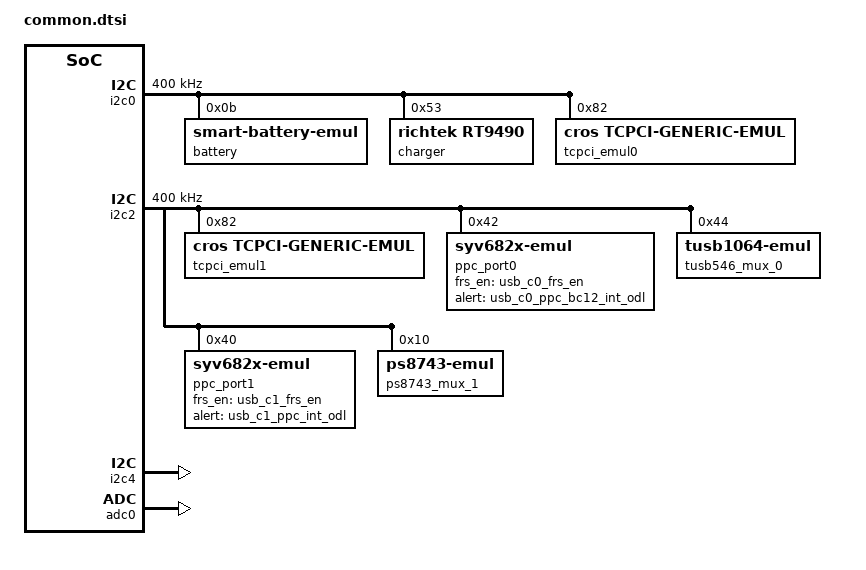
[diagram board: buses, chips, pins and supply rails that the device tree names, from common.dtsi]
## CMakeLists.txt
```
# Copyright 2023 The ChromiumOS Authors
# Use of this source code is governed by a BSD-style license that can be
# found in the LICENSE file.

cmake_minimum_required(VERSION 3.13.1)
find_package(Zephyr REQUIRED HINTS "${ZEPHYR_BASE}")
project(geralt)

add_subdirectory(${PLATFORM_EC}/zephyr/test/test_utils test_utils)

zephyr_include_directories(
	"${PLATFORM_EC_PROGRAM_DIR}/geralt/include"
	include)

target_sources(app PRIVATE
	${PLATFORM_EC_PROGRAM_DIR}/geralt/src/base_detect.c
	${PLATFORM_EC_PROGRAM_DIR}/geralt/src/usbc_config.c
	${PLATFORM_EC_PROGRAM_DIR}/geralt/src/usb_pd_policy.c)

target_sources_ifdef(CONFIG_TEST_GERALT
	app PRIVATE
	src/base_detect.c
	src/common.c
	src/fakes.c
	src/main.c
	src/usbc_config.c)

target_sources_ifdef(CONFIG_TEST_CIRI
	app PRIVATE
	src/fakes.c
	src/board_ciri.c
	src/ciri_usbc.c
	${PLATFORM_EC_PROGRAM_DIR}/geralt/ciri/src/board_config.c)
```

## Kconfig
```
# Copyright 2023 The ChromiumOS Authors
# Use of this source code is governed by a BSD-style license that can be
# found in the LICENSE file.

config MUX_INIT_ADC
	bool "Run the tests intended for usb_nux_init adc"
	help
	  Include stubs.c with const struct adc_t adc_channels[] function
	  into the binary to test.

choice
	prompt "select the test suite"

config TEST_GERALT
	bool "Run the tests intended for geralt"
	help
	  Run the tests for geralt common code.
endchoice

source "Kconfig.zephyr"
```

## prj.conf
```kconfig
# Copyright 2023 The ChromiumOS Authors
# Use of this source code is governed by a BSD-style license that can be
# found in the LICENSE file.

CONFIG_ZTEST=y
CONFIG_ZTEST_ASSERT_VERBOSE=1
CONFIG_ZTEST_NEW_API=y

CONFIG_ASSERT=y
CONFIG_ADC=y
CONFIG_CROS_EC=y
CONFIG_EMUL=y

CONFIG_SHIMMED_TASKS=n

CONFIG_PLATFORM_EC=y
CONFIG_PLATFORM_EC_BACKLIGHT_LID=n
CONFIG_PLATFORM_EC_BATTERY_FUEL_GAUGE=y
CONFIG_PLATFORM_EC_CHARGER=y
CONFIG_PLATFORM_EC_CHARGER_SENSE_RESISTOR=10
CONFIG_PLATFORM_EC_CHARGER_SENSE_RESISTOR_AC=20
CONFIG_PLATFORM_EC_CHARGE_MANAGER=y
CONFIG_PLATFORM_EC_CHARGE_RAMP_HW=y
CONFIG_PLATFORM_EC_GPIO_INIT_PRIORITY=49
CONFIG_PLATFORM_EC_HOOKS=y
CONFIG_PLATFORM_EC_HOSTCMD=y
CONFIG_PLATFORM_EC_LID_SWITCH=y
CONFIG_PLATFORM_EC_POWERSEQ_HOST_SLEEP=y
CONFIG_PLATFORM_EC_POWER_BUTTON=y
CONFIG_PLATFORM_EC_POWER_SLEEP_FAILURE_DETECTION=y
CONFIG_PLATFORM_EC_SWITCH=n
CONFIG_PLATFORM_EC_USBC=y
CONFIG_PLATFORM_EC_USB_CHARGER=n
CONFIG_PLATFORM_EC_USB_DRP_ACC_TRYSRC=y
CONFIG_PLATFORM_EC_USB_MUX_TUSB546=y
CONFIG_PLATFORM_EC_USB_PD_DISCHARGE=y
CONFIG_PLATFORM_EC_USB_PD_DISCHARGE_PPC=y
CONFIG_PLATFORM_EC_USB_PD_VBUS_MEASURE_ADC_EACH_PORT=y
CONFIG_PLATFORM_EC_USB_POWER_DELIVERY=y
CONFIG_PLATFORM_EC_VBOOT_HASH=n

CONFIG_PLATFORM_EC_USBC_PPC=y

CONFIG_NATIVE_UART_0_ON_STDINOUT=y
```

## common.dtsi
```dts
/* Copyright 2023 The ChromiumOS Authors
 * Use of this source code is governed by a BSD-style license that can be
 * found in the LICENSE file.
 */

#include <it8xxx2_emul.dts>

/ {
	pinctrl: pinctrl {
		compatible = "ite,it8xxx2-pinctrl";
		status = "disabled";
	};

	named-gpios {
		usb_c0_frs_en: usb-c0-frs-en {
			gpios = <&gpioa 3 GPIO_OUTPUT_LOW>;
		};
	};

	named-i2c-ports {
		compatible = "named-i2c-ports";

		battery {
			i2c-port = <&i2c0>;
			remote-port = <1>;
			enum-names = "I2C_PORT_BATTERY",
				"I2C_PORT_VIRTUAL_BATTERY";
		};
		i2c_charger: charger {
			i2c-port = <&i2c0>;
			enum-names = "I2C_PORT_CHARGER",
				"I2C_PORT_EEPROM";
		};
		i2c_sensor: sensor {
			i2c-port = <&i2c2>;
			enum-names = "I2C_PORT_SENSOR";
		};
		i2c_usb_c: usb-c {
			i2c-port = <&i2c2>;
			enum-names = "I2C_PORT_USB_C";
		};
		i2c_detachable_base: detachable-base {
			i2c-port = <&i2c4>;
			enum-names = "I2C_PORT_DETACHABLE_BASE";
		};
	};

	usbc {
		#address-cells = <1>;
		#size-cells = <0>;

		port0@0 {
			compatible = "named-usbc-port";
			status = "okay";
			reg = <0>;
			chg = <&charger>;
			tcpc = <&tcpci_emul0>;
			ppc = <&ppc_port0>;
			usb-mux-chain-0 {
				compatible = "cros-ec,usb-mux-chain";
				usb-muxes = <&tusb546_mux_0 &virtual_mux_0>;
			};
		};
		port0-muxes {
			virtual_mux_0: virtual-mux-0 {
				compatible = "cros-ec,usbc-mux-virtual";
			};
		};

		port1@1 {
			compatible = "named-usbc-port";
			status = "okay";
			reg = <1>;
			tcpc = <&tcpci_emul1>;
			ppc = <&ppc_port1>;
			usb-mux-chain-1 {
				compatible = "cros-ec,usb-mux-chain";
				usb-muxes = <&ps8743_mux_1 &virtual_mux_1>;
			};
		};
		port1-muxes {
			virtual_mux_1: virtual-mux-1 {
				compatible = "cros-ec,usbc-mux-virtual";
			};
		};
	};

	batteries {
		default_battery: lgc_ac17a8m {
			compatible = "lgc,ac17a8m", "battery-smart";
			/**
			 * this has to be strictly lower than the desired
			 * voltage in smart battery emulator (5000mV).
			 */
			voltage_min = <4000>;
		};
	};

	named-adc-channels {
		compatible = "named-adc-channels";

		adc_vbus_c0: adc-vbus-c0 {
			enum-name = "ADC_VBUS_C0";
			io-channels = <&adc0 0>;
			mul = <10>;
		};
		adc_board_id0 {
			enum-name = "ADC_BOARD_ID_0";
			io-channels = <&adc0 1>;
		};
		adc_board_id1 {
			enum-name = "ADC_BOARD_ID_1";
			io-channels = <&adc0 2>;
		};
		adc_base_det: adc-base-det {
			enum-name = "ADC_BASE_DET";
			io-channels = <&adc0 5>;
		};
		adc_vbus_c1 {
			enum-name = "ADC_VBUS_C1";
			io-channels = <&adc0 7>;
			mul = <10>;
		};
		adc_charger: charger {
			enum-name = "ADC_TEMP_SENSOR_CHARGER";
			io-channels = <&adc0 6>;
		};
	};
};

&i2c0 {
	/* I2C_BATTERY */
	battery: sb@b {
		compatible = "zephyr,smart-battery-emul";
		reg = <0xb>;
		cycle-count = <99>;
		version = "BATTERY_SPEC_VER_1_1_WITH_PEC";
		/* Real battery voltages are multiples of 4.4V. */
		desired-charg-volt = <5000>;
		desired-charg-cur = <1000>;
		mf-name = "LGC";
		dev-name = "AC17A8M";
	};

	/* I2C_PWR_CBI */
	status = "okay";
	clock-frequency = <I2C_BITRATE_FAST>;

	charger: rt9490@53 {
		compatible = "richtek,rt9490", "zephyr,rt9490-emul";
		status = "okay";
		reg = <0x53>;
	};

	tcpci_emul0: tcpci_emul@82 {
		compatible = "cros,tcpci-generic-emul";
		status = "okay";
		reg = <0x82>;
	};
};

&i2c2 {
	/* I2C_USB_C */
	status = "okay";
	clock-frequency = <I2C_BITRATE_FAST>;
	/delete-property/ fifo-enable;

	tcpci_emul1: tcpci_emul@82 {
		compatible = "cros,tcpci-generic-emul";
		status = "okay";
		reg = <0x82>;
	};

	ppc_port0: rt1739@70 {
		compatible = "zephyr,syv682x-emul";
		status = "okay";
		reg = <0x42>;
		frs_en_gpio = <&usb_c0_frs_en>;
		alert_gpio = <&usb_c0_ppc_bc12_int_odl>;
	};

	tusb546_mux_0: tusb546-mux-0@44 {
		compatible = "zephyr,tusb1064-emul";
		reg = <0x44>;
	};

	ppc_port1: syv682x@40 {
		compatible = "zephyr,syv682x-emul";
		status = "okay";
		reg = <0x40>;
		frs_en_gpio = <&usb_c1_frs_en>;
		alert_gpio = <&usb_c1_ppc_int_odl>;
	};

	ps8743_mux_1: ps8743-mux-1@10 {
		compatible = "zephyr,ps8743-emul";
		reg = <0x10>;
		// board-init = "ps8743_eq_c1_setting";
	};
};

/* TODO(b/260377762): peripheral mode */
&i2c4 {
	/* I2C_DETACHABLE_BASE */
	status = "okay";
};

&adc0 {
	status = "okay";
};
```

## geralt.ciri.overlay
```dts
/* Copyright 2024 The ChromiumOS Authors
 * Use of this source code is governed by a BSD-style license that can be
 * found in the LICENSE file.
 */

#include "common.dtsi"
#include "../program/geralt/gpio.dtsi"
#include "../program/geralt/interrupts.dtsi"
#include "../program/geralt/power_signal.dtsi"

/* remove pinctrl to avoid pull in too many unwanted dependency */
/delete-node/ &pinctrl;

/delete-node/ &int_volume_up;
/delete-node/ &int_volume_down;
/delete-node/ &int_spi0_cs;
/delete-node/ &int_ccd_mode_odl;
/delete-node/ &int_lid_360;

/* no need to maintain the unused-pins list in test code */
/delete-node/ &{/unused-pins};

/ {
	aliases {
		bmi3xx-int = &lid_accel;
		lsm6dsm-int = &lid_accel;
	};

	gpio-interrupts {
        int_lid_imu: lid-imu {
			irq-pin = <&lid_imu_int_l>;
			flags = <GPIO_INT_EDGE_FALLING>;
			handler = "motion_interrupt";
		};
	};

	motionsense-sensor-data {
		lsm6dsm_data_accel: lsm6dsm-accel-drv-data {
			compatible = "cros-ec,drvdata-lsm6dsm";
			status = "okay";
		};
		lsm6dsm_data_gyro: lsm6dsm-gyro-drv-data {
			compatible = "cros-ec,drvdata-lsm6dsm";
			status = "okay";
		};
		bmi323_data: bmi3xx-drv-data {
			compatible = "cros-ec,drvdata-bmi3xx";
			status = "okay";
		};
	};

	motionsense-sensor {
		lid_accel: lid-accel {
			compatible = "cros-ec,bmi3xx-accel";
			status = "okay";

			active-mask = "SENSOR_ACTIVE_S0";
			location = "MOTIONSENSE_LOC_LID";
			drv-data = <&bmi323_data>;
			port = <&i2c_sensor>;
		};

		lid_gyro: lid-gyro {
			compatible = "cros-ec,bmi3xx-gyro";
			status = "okay";

			active-mask = "SENSOR_ACTIVE_S0";
			location = "MOTIONSENSE_LOC_LID";
			drv-data = <&bmi323_data>;
			port = <&i2c_sensor>;
		};
	};

	motionsense-sensor-alt {
		alt_lid_accel: alt-lid-accel {
			compatible = "cros-ec,lsm6dsm-accel";
			status = "okay";

			active-mask = "SENSOR_ACTIVE_S0";
			location = "MOTIONSENSE_LOC_LID";
			drv-data = <&lsm6dsm_data_accel>;
			port = <&i2c_sensor>;
			alternate-for = <&lid_accel>;
		};

		alt_lid_gyro: alt-lid-gyro {
			compatible = "cros-ec,lsm6dsm-gyro";
			status = "okay";

			active-mask = "SENSOR_ACTIVE_S0";
			location = "MOTIONSENSE_LOC_LID";
			drv-data = <&lsm6dsm_data_gyro>;
			port = <&i2c_sensor>;
			alternate-for = <&lid_gyro>;
		};
	};

	motionsense-sensor-info {
		compatible = "cros-ec,motionsense-sensor-info";

		sensor-irqs = <&int_lid_imu>;
	};

	ciri-ssfc {
		compatible = "cros-ec,cbi-ssfc";

		/* SSFC field to identify LID motion sensor. */
		lid-sensor {
			enum-name = "LID_SENSOR";
			size = <3>;

			lid_sensor_0: bmi323 {
				compatible = "cros-ec,cbi-ssfc-value";
				status = "okay";
				value = <1>;
			};
			lid_sensor_1: lsm6dsm {
				compatible = "cros-ec,cbi-ssfc-value";
				status = "okay";
				value = <2>;
				default;
			};
		};
	};
};
```

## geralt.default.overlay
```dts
/* Copyright 2023 The ChromiumOS Authors
 * Use of this source code is governed by a BSD-style license that can be
 * found in the LICENSE file.
 */

#include "common.dtsi"
#include "charger.dtsi"
#include "../program/geralt/gpio.dtsi"
#include "../program/geralt/interrupts.dtsi"
#include "../program/geralt/power_signal.dtsi"

/* remove pinctrl to avoid pull in too many unwanted dependency */
/delete-node/ &pinctrl;

/delete-node/ &int_volume_up;
/delete-node/ &int_volume_down;
/delete-node/ &int_wp;
/delete-node/ &int_ccd_mode_odl;
/delete-node/ &int_lid_360;
/delete-node/ &int_lid_imu;

&{/aliases} {
	/delete-property/ int-wp;
};

/* open-drain is not supported in gpio emul, re-config to push-pull  */
&ec_pmic_en_odl {
	gpios = <&gpiod 0 (GPIO_OUTPUT_HIGH | GPIO_INPUT | GPIO_VOLTAGE_1P8)>;
};
&sys_rst_odl {
	gpios = <&gpiog 1 GPIO_OUTPUT_LOW>;
};

/* set default gpio-emul state */
&power_button_l {
	gpios = <&gpioe 4 (GPIO_INPUT | GPIO_PULL_UP)>;
};
```

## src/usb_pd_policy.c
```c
/* Copyright 2023 The ChromiumOS Authors
 * Use of this source code is governed by a BSD-style license that can be
 * found in the LICENSE file.
 */

#include "adc.h"
#include "battery.h"
#include "charge_manager.h"
#include "driver/ppc/syv682x.h"
#include "driver/ppc/syv682x_public.h"
#include "emul/emul_common_i2c.h"
#include "emul/emul_syv682x.h"
#include "i2c/i2c.h"
#include "test_state.h"
#include "usb_pd.h"
#include "usbc_ppc.h"

#include <zephyr/devicetree.h>
#include <zephyr/drivers/emul.h>
#include <zephyr/fff.h>
#include <zephyr/ztest.h>

FAKE_VALUE_FUNC(enum battery_present, battery_is_present);

ZTEST(usb_pd_policy, test_port_frs_disable_until_source_on)
{
	for (int i = 0; i < CONFIG_USB_PD_PORT_MAX_COUNT; i++) {
		/* all ports delay the FRS disabled pins */
		zassert_true(port_frs_disable_until_source_on(i));
	}
}

static void geralt_usb_pd_policy_before(void *fixture)
{
}

ZTEST_SUITE(usb_pd_policy, geralt_predicate_post_main, NULL,
	    geralt_usb_pd_policy_before, NULL, NULL);
```

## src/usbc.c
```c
/* Copyright 2025 The ChromiumOS Authors
 * Use of this source code is governed by a BSD-style license that can be
 * found in the LICENSE file.
 */

#include "test_state.h"
#include "usb_pd.h"
#include "usb_tc_sm.h"

#include <zephyr/fff.h>
#include <zephyr/ztest.h>

#include "usb_pd_dpm_sm.hh"

FAKE_VALUE_FUNC(bool, tc_is_attached_src, int);

/*
 * Store a bitmask of active source ports.
 * Bit 0 for port 0, bit 1 for port 1.
 */
static int active_src_mask;

static bool tc_is_attached_src_custom_fake(int port)
{
	return (active_src_mask & BIT(port));
}

static void usbc_before(void *fixture)
{
	RESET_FAKE(tc_is_attached_src);
	tc_is_attached_src_fake.custom_fake = tc_is_attached_src_custom_fake;
	active_src_mask = 0;
}

ZTEST_SUITE(usbc, geralt_predicate_post_main, NULL, usbc_before, NULL, NULL);

ZTEST(usbc, test_dpm_get_source_info_msg)
{
	union sido sido;

	/*
	 * Scenario 1: Port 0 is the only active source.
	 * Should provide 3A (15W).
	 */
	active_src_mask = BIT(0);
	sido = dpm_get_source_info_msg(0);

	zassert_equal(sido.sido1.port_type, PD_SOURCE_PORT_CAPABILITY_MANAGED,
		      "port_type mismatch");
	zassert_equal(sido.sido2.port_type, PD_SOURCE_PORT_CAPABILITY_MANAGED,
		      "port_type mismatch");
	zassert_equal(sido.sido1.reserved, 0, "reserved not 0");
	zassert_equal(sido.sido2.reserved, 0, "reserved not 0");
	zassert_equal(sido.sido2.dps_port, 0, "dps_port not 0");
	zassert_equal(sido.sido2.port_maximum_pdp, PD_SIDO2_15W,
		      "max_pdp mismatch");
	zassert_equal(sido.sido1.port_maximum_pdp, 15, "max_pdp mismatch");
	zassert_equal(sido.sido2.port_guaranteed_pdp, PD_SIDO2_7_5W,
		      "guaranteed_pdp mismatch");
	zassert_equal(sido.sido1.port_reported_pdp, 15,
		      "reported_pdp mismatch for 3A case");
	zassert_equal(sido.sido1.port_present_pdp, 15,
		      "present_pdp mismatch for 3A case");

	/*
	 * Scenario 2: Port 1 is the only active source.
	 * Should provide 3A (15W).
	 */
	active_src_mask = BIT(1);
	sido = dpm_get_source_info_msg(1);

	zassert_equal(sido.sido1.port_reported_pdp, 15,
		      "reported_pdp mismatch for 3A case");
	zassert_equal(sido.sido1.port_present_pdp, 15,
		      "present_pdp mismatch for 3A case");

	/*
	 * Scenario 3: Both ports are active sources.
	 * Port 0 should provide 1.5A (7.5W, truncated to 7W).
	 */
	active_src_mask = BIT(0) | BIT(1);
	sido = dpm_get_source_info_msg(0);

	zassert_equal(sido.sido1.port_reported_pdp, 7,
		      "reported_pdp mismatch for 1.5A case");
	zassert_equal(sido.sido1.port_present_pdp, 7,
		      "present_pdp mismatch for 1.5A case");

	/*
	 * Scenario 4: Both ports are active sources.
	 * Port 1 should provide 1.5A (7.5W, truncated to 7W).
	 */
	sido = dpm_get_source_info_msg(1);

	zassert_equal(sido.sido1.port_reported_pdp, 7,
		      "reported_pdp mismatch for 1.5A case");
	zassert_equal(sido.sido1.port_present_pdp, 7,
		      "present_pdp mismatch for 1.5A case");

	/*
	 * Scenario 5: No ports are active.
	 * Should provide 1.5A (7.5W, truncated to 7W).
	 */
	active_src_mask = 0;
	sido = dpm_get_source_info_msg(0);

	zassert_equal(sido.sido1.port_reported_pdp, 7,
		      "reported_pdp mismatch for 1.5A case");
	zassert_equal(sido.sido1.port_present_pdp, 7,
		      "present_pdp mismatch for 1.5A case");
}
```

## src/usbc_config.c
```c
/* Copyright 2023 The ChromiumOS Authors
 * Use of this source code is governed by a BSD-style license that can be
 * found in the LICENSE file.
 */

#include "adc.h"
#include "battery.h"
#include "charge_manager.h"
#include "driver/ppc/syv682x.h"
#include "driver/ppc/syv682x_public.h"
#include "emul/emul_common_i2c.h"
#include "emul/emul_syv682x.h"
#include "fakes.h"
#include "i2c/i2c.h"
#include "test_state.h"
#include "usb_pd.h"
#include "usbc_ppc.h"

#include <zephyr/devicetree.h>
#include <zephyr/devicetree/io-channels.h>
#include <zephyr/drivers/adc/adc_emul.h>
#include <zephyr/drivers/emul.h>
#include <zephyr/fff.h>
#include <zephyr/ztest.h>

static bool ppc_sink_enabled(int port)
{
	const struct emul *emul = (port == 0) ?
					  EMUL_DT_GET(DT_NODELABEL(ppc_port0)) :
					  EMUL_DT_GET(DT_NODELABEL(ppc_port1));
	uint8_t val = 0;

	syv682x_emul_get_reg(emul, SYV682X_CONTROL_1_REG, &val);

	return !(val & (SYV682X_CONTROL_1_PWR_ENB | SYV682X_CONTROL_1_HV_DR));
}

ZTEST(usbc_config, test_set_active_charge_port)
{
	/* reset ppc state */
	zassert_ok(board_set_active_charge_port(CHARGE_PORT_NONE), NULL);
	zassert_false(ppc_sink_enabled(0), NULL);
	zassert_false(ppc_sink_enabled(1), NULL);

	/* sourcing port 0, expect port 0 not sinkable */
	zassert_ok(pd_set_power_supply_ready(0));
	zassert_not_equal(board_set_active_charge_port(0), 0, NULL);
	zassert_true(board_vbus_source_enabled(0), NULL);
	zassert_false(board_vbus_source_enabled(1), NULL);
	zassert_false(ppc_sink_enabled(0), NULL);
	zassert_false(ppc_sink_enabled(1), NULL);

	/* sinking port 1 */
	zassert_ok(board_set_active_charge_port(1), NULL);
	zassert_false(ppc_sink_enabled(0), NULL);
	zassert_true(ppc_sink_enabled(1), NULL);

	/*
	 * sinking an invalid port should return error and doesn't change
	 * any state
	 */
	zassert_not_equal(board_set_active_charge_port(2), 0, NULL);
	zassert_true(board_vbus_source_enabled(0), NULL);
	zassert_false(board_vbus_source_enabled(1), NULL);
	zassert_false(ppc_sink_enabled(0), NULL);
	zassert_true(ppc_sink_enabled(1), NULL);

	/* turn off sourcing, sinking port 0 */
	pd_power_supply_reset(0);
	zassert_ok(board_set_active_charge_port(0), NULL);
	zassert_true(ppc_sink_enabled(0), NULL);
	zassert_false(ppc_sink_enabled(1), NULL);

	/* sinking port 1 */
	zassert_ok(board_set_active_charge_port(1), NULL);
	zassert_false(ppc_sink_enabled(0), NULL);
	zassert_true(ppc_sink_enabled(1), NULL);

	/* back to port 0 */
	zassert_ok(board_set_active_charge_port(0), NULL);
	zassert_true(ppc_sink_enabled(0), NULL);
	zassert_false(ppc_sink_enabled(1), NULL);

	/* reset */
	zassert_ok(board_set_active_charge_port(CHARGE_PORT_NONE), NULL);
	zassert_false(board_vbus_source_enabled(0), NULL);
	zassert_false(board_vbus_source_enabled(1), NULL);
	zassert_false(ppc_sink_enabled(0), NULL);
	zassert_false(ppc_sink_enabled(1), NULL);
}

ZTEST(usbc_config, test_set_active_charge_port_fail)
{
	const struct emul *ppc0 = EMUL_DT_GET(DT_NODELABEL(ppc_port0));

	/* Verify that failure on ppc0 doesn't affect ppc1 */
	i2c_common_emul_set_write_fail_reg(
		emul_syv682x_get_i2c_common_data(ppc0),
		I2C_COMMON_EMUL_FAIL_ALL_REG);

	zassert_ok(board_set_active_charge_port(1), NULL);
	zassert_true(ppc_sink_enabled(1), NULL);
	zassert_ok(board_set_active_charge_port(CHARGE_PORT_NONE), NULL);
	zassert_false(ppc_sink_enabled(1), NULL);
	zassert_ok(board_set_active_charge_port(1), NULL);
	zassert_true(ppc_sink_enabled(1), NULL);

	/* trying to enable ppc0 results in error */
	zassert_not_equal(board_set_active_charge_port(0), 0, NULL);
	zassert_false(ppc_sink_enabled(1), NULL);
}

ZTEST(usbc_config, test_adc_channel)
{
	zassert_equal(board_get_vbus_adc(0), ADC_VBUS_C0, NULL);
	zassert_equal(board_get_vbus_adc(1), ADC_VBUS_C1, NULL);
	zassert_equal(board_get_vbus_adc(99), ADC_VBUS_C0, NULL);
}

static void set_vbus_adc(int voltage)
{
	const struct device *adc_dev =
		DEVICE_DT_GET(DT_IO_CHANNELS_CTLR(DT_NODELABEL(adc_vbus_c0)));
	const int channel = DT_IO_CHANNELS_INPUT(DT_NODELABEL(adc_vbus_c0));

	adc_emul_const_value_set(adc_dev, channel, voltage / 10);
}

ZTEST(usbc_config, test_pd_check_vbus_level)
{
	/* SAFE0V true */
	set_vbus_adc(PD_V_SAFE0V_MAX - 1);
	zassert_true(pd_check_vbus_level(0, VBUS_SAFE0V), NULL);

	/* SAFE0V false */
	set_vbus_adc(PD_V_SAFE0V_MAX + 100);
	zassert_false(pd_check_vbus_level(0, VBUS_SAFE0V), NULL);

	/* PRESENT true */
	set_vbus_adc(PD_V_SAFE5V_MIN + 100);
	zassert_true(pd_check_vbus_level(0, VBUS_PRESENT), NULL);

	/* PRESENT false */
	set_vbus_adc(PD_V_SAFE5V_MIN - 500);
	zassert_false(pd_check_vbus_level(0, VBUS_PRESENT), NULL);

	/* REMOVED true */
	set_vbus_adc(PD_V_SINK_DISCONNECT_MAX - 1);
	zassert_true(pd_check_vbus_level(0, VBUS_REMOVED), NULL);

	/* REMOVED false */
	set_vbus_adc(PD_V_SINK_DISCONNECT_MAX + 500);
	zassert_false(pd_check_vbus_level(0, VBUS_REMOVED), NULL);

	/* invalid enum */
	set_vbus_adc(1000);
	zassert_false(pd_check_vbus_level(0, 123), NULL);
}

static void geralt_usbc_config_before(void *fixture)
{
	const struct emul *ppc0 = EMUL_DT_GET(DT_NODELABEL(ppc_port0));
	const struct emul *ppc1 = EMUL_DT_GET(DT_NODELABEL(ppc_port1));

	i2c_common_emul_set_write_fail_reg(
		emul_syv682x_get_i2c_common_data(ppc0),
		I2C_COMMON_EMUL_NO_FAIL_REG);
	i2c_common_emul_set_write_fail_reg(
		emul_syv682x_get_i2c_common_data(ppc1),
		I2C_COMMON_EMUL_NO_FAIL_REG);

	board_set_active_charge_port(CHARGE_PORT_NONE);
}

ZTEST_SUITE(usbc_config, geralt_predicate_post_main, NULL,
	    geralt_usbc_config_before, NULL, NULL);
```
